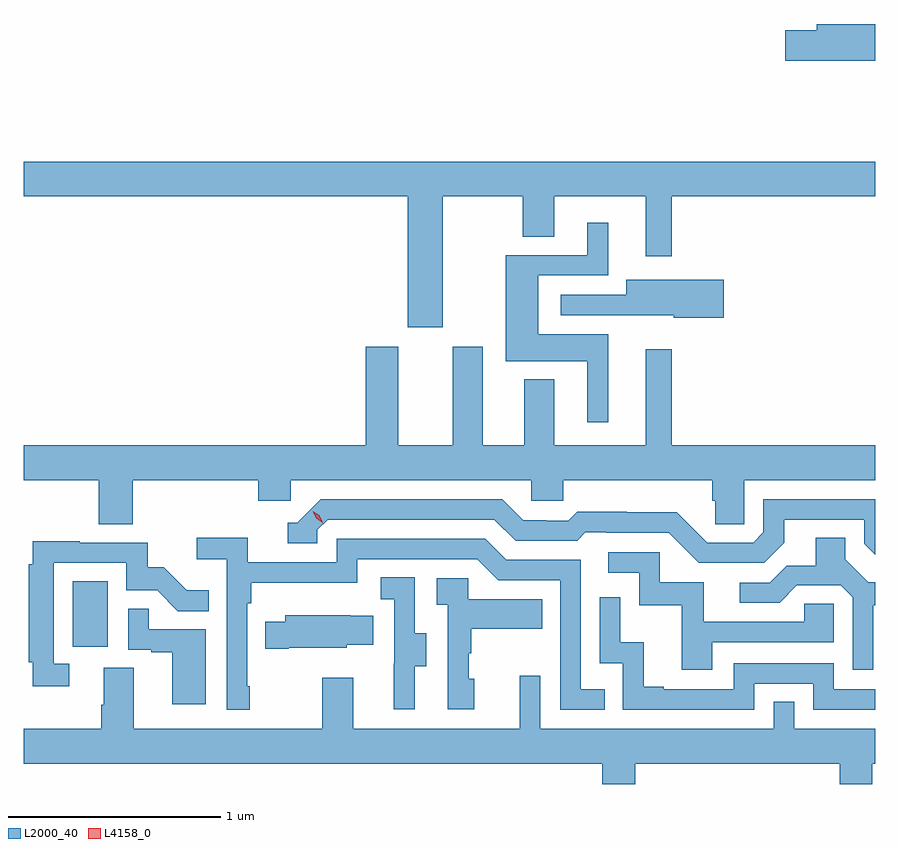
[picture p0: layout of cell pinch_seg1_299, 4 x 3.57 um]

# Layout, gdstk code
import gdstk
lib = gdstk.Library(unit=1e-6, precision=1e-09)
def R(c, l, rs):  # rectangles x0, y0, x1, y1
    for r in rs: c.add(gdstk.rectangle(r[:2], r[2:], *l))
def P(c, l, *ps):  # polygons
    for p in ps: c.add(gdstk.Polygon(p, *l))
L2000_40 = (2000, 40)
L4158_0 = (4158, 0)

pinch_seg1_299 = lib.new_cell('pinch_seg1_299')
R(pinch_seg1_299, L2000_40, [(920.786,556.278,920.95,556.585)])
P(pinch_seg1_299, L2000_40, [(924.556,559.202),(924.281,559.202),(924.281,559.172),(924.132,559.172),(924.132,559.03),(924.556,559.03)],
  [(922.525,558.392),(922.9,558.392),(922.9,558.202),(923.047,558.202),(923.047,558.392),(923.477,558.392),(923.477,558.111),(923.599,558.111),(923.599,558.392),(924.556,558.392),(924.556,558.556),(920.556,558.556),(920.556,558.392),(922.361,558.392),(922.361,557.778),(922.525,557.778)],
  [(923.302,557.746),(922.972,557.746),(922.972,558.021),(923.302,558.021),(923.302,558.268),(923.204,558.268),(923.204,558.117),(922.819,558.117),(922.819,557.618),(923.204,557.618),(923.204,557.331),(923.302,557.331)],
  [(923.845,558),(923.387,558),(923.387,557.931),(923.079,557.931),(923.079,557.835),(923.391,557.835),(923.391,557.834),(923.61,557.834),(923.61,557.822),(923.845,557.822)],
  [(921.068,557.06),(921.659,557.06),(921.659,556.962),(921.81,556.962),(921.81,557.06),(922.941,557.06),(922.941,556.962),(923.091,556.962),(923.091,557.06),(923.789,557.06),(923.789,556.962),(923.803,556.962),(923.803,556.852),(923.94,556.852),(923.94,557.06),(924.556,557.06),(924.556,557.224),(923.599,557.224),(923.599,557.674),(923.477,557.674),(923.477,557.224),(923.047,557.224),(923.047,557.533),(922.907,557.533),(922.907,557.224),(922.711,557.224),(922.711,557.686),(922.571,557.686),(922.571,557.224),(922.315,557.224),(922.315,557.686),(922.163,557.686),(922.163,557.224),(920.556,557.224),(920.556,557.06),(920.908,557.06),(920.908,556.852),(921.068,556.852)],
  [(924.127,556.765),(924.127,556.875),(924.504,556.875),(924.504,556.761),(924.556,556.709),(924.556,556.971),(924.03,556.971),(924.03,556.815),(923.982,556.767),(923.766,556.767),(923.624,556.909),(923.388,556.909),(923.388,556.912),(923.155,556.912),(923.113,556.869),(923.01,556.869),(923.01,556.872),(922.903,556.872),(922.804,556.971),(921.951,556.971),(921.84,556.86),(921.797,556.86),(921.797,556.764),(921.936,556.764),(921.936,556.827),(921.984,556.875),(922.767,556.875),(922.866,556.776),(923.155,556.776),(923.194,556.815),(923.293,556.815),(923.293,556.812),(923.586,556.812),(923.727,556.671),(924.033,556.671)],
  [(921.619,556.093),(921.606,556.093),(921.606,556.481),(921.626,556.481),(921.626,556.577),(922.122,556.577),(922.122,556.689),(922.686,556.689),(922.785,556.59),(923.076,556.59),(923.076,555.981),(923.285,555.981),(923.285,556.077),(923.172,556.077),(923.172,556.686),(922.822,556.686),(922.723,556.785),(922.026,556.785),(922.026,556.674),(921.608,556.674),(921.608,556.79),(921.369,556.79),(921.369,556.688),(921.51,556.688),(921.51,555.981),(921.619,555.981)],
  [(924.547,556.473),(924.556,556.473),(924.556,556.581),(924.522,556.581),(924.415,556.688),(924.415,556.79),(924.275,556.79),(924.275,556.658),(924.14,556.658),(924.06,556.578),(923.919,556.578),(923.919,556.485),(924.106,556.485),(924.187,556.566),(924.393,556.566),(924.45,556.509),(924.45,556.17),(924.547,556.17)],
  [(920.77,556.197),(920.697,556.197),(920.697,556.671),(921.039,556.671),(921.039,556.542),(921.183,556.542),(921.281,556.444),(921.425,556.444),(921.425,556.543),(921.321,556.543),(921.214,556.65),(921.138,556.65),(921.138,556.767),(920.819,556.767),(920.819,556.772),(920.6,556.772),(920.6,556.664),(920.581,556.664),(920.581,556.204),(920.6,556.204),(920.6,556.092),(920.77,556.092)],
  [(923.791,556.299),(924.36,556.299),(924.36,556.479),(924.223,556.479),(924.223,556.395),(923.749,556.395),(923.749,556.581),(923.544,556.581),(923.544,556.722),(923.301,556.722),(923.301,556.626),(923.448,556.626),(923.448,556.473),(923.647,556.473),(923.647,556.17),(923.791,556.17)],
  [(922.393,556.186),(922.447,556.186),(922.447,556.341),(922.392,556.341),(922.392,556.604),(922.233,556.604),(922.233,556.501),(922.296,556.501),(922.296,556.197),(922.295,556.197),(922.295,555.984),(922.393,555.984)],
  [(922.672,556.128),(922.647,556.128),(922.647,556.247),(922.657,556.247),(922.657,556.361),(922.991,556.361),(922.991,556.501),(922.644,556.501),(922.644,556.599),(922.497,556.599),(922.497,556.475),(922.548,556.475),(922.548,555.984),(922.672,555.984)],
  [(923.988,556.104),(924.264,556.104),(924.264,555.981),(924.556,555.981),(924.556,556.077),(924.36,556.077),(924.36,556.2),(923.892,556.2),(923.892,556.077),(923.563,556.077),(923.563,556.09),(923.468,556.09),(923.468,556.298),(923.358,556.298),(923.358,556.51),(923.262,556.51),(923.262,556.2),(923.37,556.2),(923.37,555.981),(923.988,555.981)],
  [(921.412,556.359),(921.143,556.359),(921.143,556.457),(921.048,556.457),(921.048,556.263),(921.155,556.263),(921.155,556.251),(921.254,556.251),(921.254,556.008),(921.412,556.008)],
  [(921.802,556.274),(922.074,556.274),(922.074,556.286),(922.199,556.286),(922.199,556.423),(922.091,556.423),(922.091,556.426),(921.785,556.426),(921.785,556.396),(921.691,556.396),(921.691,556.267),(921.802,556.267)],
  [(923.429,555.728),(924.389,555.728),(924.389,555.633),(924.542,555.633),(924.542,555.728),(924.556,555.728),(924.556,555.892),(924.174,555.892),(924.174,556.019),(924.078,556.019),(924.078,555.892),(922.983,555.892),(922.983,556.141),(922.886,556.141),(922.886,555.892),(922.105,555.892),(922.105,556.132),(921.958,556.132),(921.958,555.892),(921.073,555.892),(921.073,556.178),(920.933,556.178),(920.933,556.004),(920.921,556.004),(920.921,555.892),(920.556,555.892),(920.556,555.728),(923.273,555.728),(923.273,555.633),(923.429,555.633)])
P(pinch_seg1_299, L4158_0, [(921.961,556.861),(921.93,556.881),(921.913,556.914),(921.913,556.914),(921.913,556.914),(921.944,556.894),(921.961,556.861),(921.961,556.861)])

lib.write_gds('pinch_seg1_299.gds')
